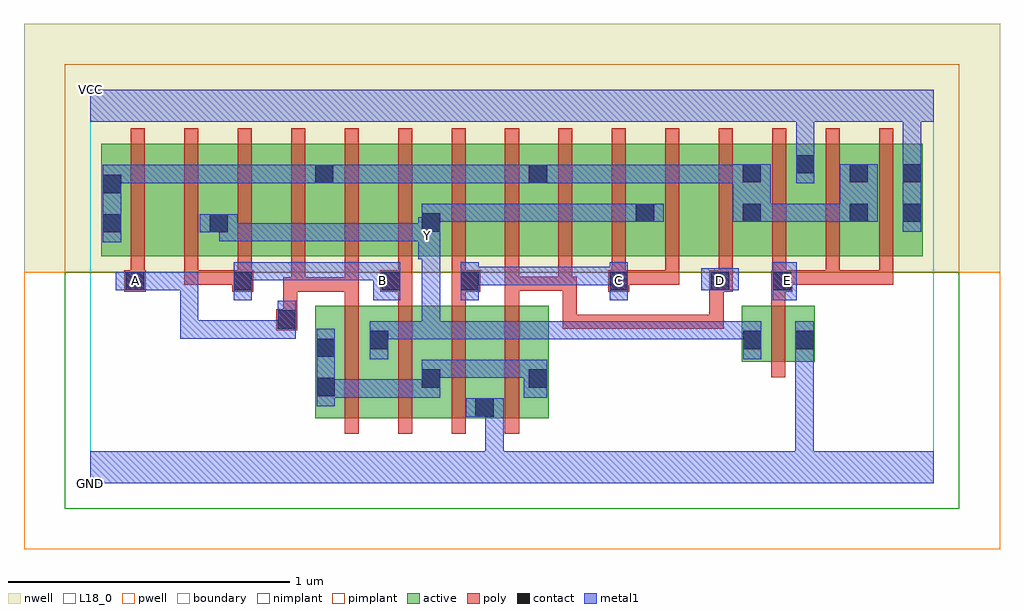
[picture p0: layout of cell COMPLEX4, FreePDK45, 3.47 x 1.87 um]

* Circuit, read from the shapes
.subckt COMPLEX4 A B C D E GND VCC Y
M1 Y A n1 VSUBS nfet w=0.4u l=0.05u
M2 n1 B Y VSUBS nfet w=0.4u l=0.05u
M3 GND C n1 VSUBS nfet w=0.4u l=0.05u
M4 n1 D GND VSUBS nfet w=0.4u l=0.05u
M5 GND E Y VSUBS nfet w=0.2u l=0.05u
M6 n2 A n3 n4 pfet w=0.4u l=0.05u
M7 Y B n2 n4 pfet w=0.4u l=0.05u
M8 n5 B Y n4 pfet w=0.4u l=0.05u
M9 n3 A n5 n4 pfet w=0.4u l=0.05u
M10 n6 A n3 n4 pfet w=0.4u l=0.05u
M11 Y B n6 n4 pfet w=0.4u l=0.05u
M12 n7 C Y n4 pfet w=0.4u l=0.05u
M13 n3 D n7 n4 pfet w=0.4u l=0.05u
M14 n8 D n3 n4 pfet w=0.4u l=0.05u
M15 Y C n8 n4 pfet w=0.4u l=0.05u
M16 n9 C Y n4 pfet w=0.4u l=0.05u
M17 n3 D n9 n4 pfet w=0.4u l=0.05u
M18 VCC E n3 n4 pfet w=0.4u l=0.05u m=3
.ends

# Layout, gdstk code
import gdstk
lib = gdstk.Library(unit=1e-6, precision=1e-09)
def R(c, l, rs):  # rectangles x0, y0, x1, y1
    for r in rs: c.add(gdstk.rectangle(r[:2], r[2:], *l))
def A(c, l, x, y, w, h, nx, ny, dx, dy):  # array of equal rectangles
    R(c, l, [(x+i*dx, y+j*dy, x+i*dx+w, y+j*dy+h) for i in range(nx) for j in range(ny)])
active = (1, 0)
pwell = (2, 0)
nwell = (3, 0)
nimplant = (4, 0)
pimplant = (5, 0)
poly = (9, 0)
contact = (10, 0)
metal1 = (11, 0)
L18_0 = (18, 0)
boundary = (235, 0)

complex4 = lib.new_cell('COMPLEX4')
A(complex4, active, 1.175, 0.232, 0.075, 0.26, 3, 1, 0.19, 0)
A(complex4, active, 0.645, 0.807, 0.225, 0.4, 5, 1, 0.38, 0)
A(complex4, active, 0.795, 0.807, 0.075, 0.393, 3, 1, 0.76, 0)
A(complex4, active, 0.795, 0.807, 0.23, 0.4, 4, 1, 0.38, 0)
A(complex4, active, 2.315, 0.807, 0.265, 0.4, 3, 1, 0.19, 0)
R(complex4, active, [(0.8,0.232,1.065,0.632), (0.8,0.232,0.875,0.632), (0.99,0.232,1.25,0.632), (1.175,0.232,1.44,0.632), (1.365,0.232,1.63,0.632), (0.99,0.295,1.065,0.632), (2.317,0.432,2.392,0.632), (2.317,0.432,2.577,0.632), (2.502,0.432,2.577,0.632), (0.04,0.807,0.265,1.207), (0.04,0.807,0.145,1.2), (0.265,0.807,0.495,1.207), (0.42,0.807,0.645,1.207), (0.42,0.807,0.495,1.07), (1.175,0.807,1.25,1.07), (1.935,0.807,2.01,1.07), (2.505,0.807,2.58,1.207), (2.695,0.807,2.77,1.2), (2.885,0.807,2.96,1.207)])
R(complex4, pwell, [(-0.235,-0.235,3.235,0.75)])
R(complex4, nwell, [(-0.235,0.75,3.235,1.635)])
R(complex4, nimplant, [(-0.09,-0.09,3.09,0.75)])
R(complex4, pimplant, [(-0.09,0.75,3.09,1.49)])
A(complex4, poly, 0.905, 0.177, 0.05, 0.51, 4, 1, 0.19, 0)
A(complex4, poly, 0.905, 0.637, 0.05, 0.095, 3, 1, 0.19, 0)
A(complex4, poly, 0.145, 0.707, 0.05, 0.095, 3, 1, 0.19, 0)
A(complex4, poly, 1.855, 0.707, 0.05, 0.095, 6, 1, 0.19, 0)
A(complex4, poly, 0.145, 0.752, 0.05, 0.51, 15, 1, 0.19, 0)
R(complex4, poly, [(2.422,0.377,2.472,0.687), (0.662,0.545,0.737,0.62), (1.68,0.55,1.73,0.6), (1.68,0.55,1.73,0.6), (1.68,0.55,1.73,0.6), (1.68,0.55,1.862,0.6), (1.68,0.55,1.73,0.735), (1.812,0.55,1.862,0.6), (1.812,0.55,2.05,0.6), (2,0.55,2.05,0.6), (2,0.55,2.05,0.6), (2,0.55,2.05,0.6), (2,0.55,2.252,0.6), (2.202,0.55,2.252,0.6), (2.202,0.55,2.252,0.6), (2.202,0.55,2.252,0.6), (2.202,0.55,2.252,0.6), (2.202,0.55,2.252,0.6), (2.202,0.55,2.252,0.732), (0.687,0.57,0.737,0.732), (1.475,0.637,1.525,0.735), (2.422,0.637,2.472,0.732), (0.122,0.682,0.197,0.757), (0.505,0.682,0.58,0.757), (0.687,0.682,0.75,0.732), (0.7,0.682,0.75,0.732), (0.7,0.682,0.765,0.732), (0.715,0.682,0.765,0.732), (0.715,0.682,0.765,0.732), (0.715,0.682,0.955,0.732), (0.715,0.682,0.765,0.802), (0.905,0.682,0.955,0.732), (0.905,0.682,0.955,0.802), (1.032,0.682,1.145,0.757), (1.285,0.682,1.387,0.757), (1.842,0.682,1.917,0.757), (2.202,0.682,2.285,0.757), (2.422,0.682,2.497,0.757), (1.475,0.685,1.525,0.735), (1.475,0.685,1.525,0.735), (1.475,0.685,1.525,0.735), (1.475,0.685,1.715,0.735), (1.475,0.685,1.525,0.802), (1.665,0.685,1.715,0.735), (1.665,0.685,1.715,0.735), (1.665,0.685,1.715,0.802), (1.665,0.685,1.73,0.735), (0.335,0.707,0.385,0.757), (0.335,0.707,0.385,0.757), (0.335,0.707,0.385,0.757), (0.335,0.707,0.555,0.757), (1.095,0.707,1.145,0.802), (1.285,0.707,1.335,0.802), (1.867,0.707,1.917,0.757), (1.867,0.707,1.917,0.757), (1.867,0.707,2.095,0.757), (2.045,0.707,2.095,0.757), (2.447,0.707,2.497,0.757), (2.447,0.707,2.497,0.757), (2.447,0.707,2.665,0.757), (2.615,0.707,2.665,0.757), (2.615,0.707,2.855,0.757), (2.805,0.707,2.855,0.757), (2.805,0.707,2.855,0.757), (2.805,0.707,2.855,0.757)])
A(complex4, contact, 1.94, 0.93, 0.065, 0.065, 3, 1, 0.38, 0)
R(complex4, contact, [(1.37,0.237,1.435,0.302), (0.805,0.31,0.87,0.375), (1.18,0.34,1.245,0.405), (1.56,0.34,1.625,0.405), (0.805,0.45,0.87,0.515), (0.995,0.477,1.06,0.542), (2.322,0.477,2.387,0.542), (2.507,0.477,2.572,0.542), (0.667,0.55,0.732,0.615), (0.127,0.687,0.192,0.752), (0.51,0.687,0.575,0.752), (1.037,0.687,1.102,0.752), (1.317,0.687,1.382,0.752), (1.847,0.687,1.912,0.752), (2.207,0.687,2.272,0.752), (2.427,0.687,2.492,0.752), (0.045,0.892,0.11,0.957), (0.425,0.892,0.49,0.957), (1.18,0.895,1.245,0.96), (2.89,0.93,2.955,0.995), (0.045,1.032,0.11,1.097), (0.8,1.067,0.865,1.132), (1.56,1.067,1.625,1.132), (2.32,1.07,2.385,1.135), (2.7,1.07,2.765,1.135), (2.89,1.07,2.955,1.135), (2.51,1.102,2.575,1.167)])
R(complex4, metal1, [(0,0,3,0.115), (1.405,0.05,1.47,0.115), (1.405,0.05,1.47,0.115), (1.405,0.05,1.47,0.302), (2.507,0.05,2.572,0.115), (2.507,0.05,2.572,0.115), (2.507,0.05,2.572,0.115), (2.507,0.05,2.572,0.115), (2.507,0.05,2.572,0.507), (1.335,0.237,1.47,0.302), (0.805,0.275,0.87,0.55), (0.805,0.305,0.87,0.37), (0.805,0.305,0.87,0.37), (0.805,0.305,1.06,0.37), (0.995,0.305,1.06,0.37), (0.995,0.305,1.245,0.37), (1.18,0.305,1.245,0.37), (1.18,0.305,1.245,0.37), (1.18,0.305,1.245,0.44), (1.542,0.305,1.625,0.44), (1.18,0.375,1.382,0.44), (1.317,0.375,1.382,0.44), (1.317,0.375,1.382,0.44), (1.317,0.375,1.382,0.44), (1.317,0.375,1.607,0.44), (1.542,0.375,1.607,0.44), (1.542,0.375,1.607,0.44), (0.995,0.442,1.06,0.577), (2.322,0.442,2.387,0.577), (2.507,0.442,2.572,0.507), (2.507,0.442,2.572,0.507), (2.507,0.442,2.572,0.577), (0.995,0.512,1.06,0.577), (0.995,0.512,1.06,0.577), (0.995,0.512,1.245,0.577), (1.18,0.512,1.245,0.577), (1.18,0.512,1.452,0.577), (1.18,0.512,1.245,0.862), (1.387,0.512,1.452,0.577), (1.387,0.512,1.452,0.577), (1.387,0.512,1.452,0.577), (1.387,0.512,1.607,0.577), (1.542,0.512,1.607,0.577), (1.542,0.512,1.607,0.577), (1.542,0.512,1.607,0.577), (1.542,0.512,1.745,0.577), (1.68,0.512,1.745,0.577), (1.68,0.512,1.797,0.577), (1.732,0.512,1.797,0.577), (1.732,0.512,1.882,0.577), (1.817,0.512,1.882,0.577), (1.817,0.512,1.97,0.577), (1.905,0.512,1.97,0.577), (1.905,0.512,2.1,0.577), (2.035,0.512,2.1,0.577), (2.035,0.512,2.157,0.577), (2.092,0.512,2.157,0.577), (2.092,0.512,2.237,0.577), (2.172,0.512,2.237,0.577), (2.172,0.512,2.387,0.577), (0.32,0.515,0.385,0.58), (0.32,0.515,0.575,0.58), (0.32,0.515,0.385,0.752), (0.51,0.515,0.575,0.58), (0.51,0.515,0.675,0.58), (0.61,0.515,0.675,0.58), (0.61,0.515,0.675,0.58), (0.61,0.515,0.675,0.58), (0.61,0.515,0.732,0.58), (0.667,0.515,0.732,0.65), (0.51,0.652,0.575,0.787), (1.007,0.652,1.102,0.787), (1.317,0.652,1.382,0.787), (1.847,0.652,1.912,0.787), (2.427,0.652,2.512,0.787), (0.092,0.687,0.227,0.752), (0.162,0.687,0.247,0.752), (0.182,0.687,0.247,0.752), (0.182,0.687,0.385,0.752), (0.32,0.687,0.385,0.752), (0.32,0.687,0.385,0.752), (0.32,0.687,0.385,0.752), (2.172,0.687,2.307,0.765), (1.317,0.705,1.382,0.77), (1.317,0.705,1.382,0.77), (1.317,0.705,1.59,0.77), (1.525,0.705,1.59,0.77), (1.525,0.705,1.59,0.77), (1.525,0.705,1.59,0.77), (1.525,0.705,1.745,0.77), (1.68,0.705,1.745,0.77), (1.68,0.705,1.797,0.77), (1.732,0.705,1.797,0.77), (1.732,0.705,1.912,0.77), (0.51,0.722,0.692,0.787), (0.627,0.722,0.692,0.787), (0.627,0.722,0.732,0.787), (0.667,0.722,0.732,0.787), (0.667,0.722,0.87,0.787), (0.805,0.722,0.87,0.787), (0.805,0.722,0.87,0.787), (0.805,0.722,0.87,0.787), (0.805,0.722,1.072,0.787), (1.007,0.722,1.072,0.787), (1.007,0.722,1.072,0.787), (1.167,0.797,1.245,0.947), (0.045,0.857,0.11,1.132), (0.46,0.86,0.692,0.925), (0.46,0.86,0.525,0.957), (0.627,0.86,0.692,0.925), (0.627,0.86,0.732,0.925), (0.667,0.86,0.732,0.925), (0.667,0.86,0.922,0.925), (0.857,0.86,0.922,0.925), (0.857,0.86,0.922,0.925), (0.857,0.86,0.922,0.925), (0.857,0.86,1.06,0.925), (0.995,0.86,1.06,0.925), (0.995,0.86,1.245,0.925), (1.18,0.86,1.245,0.925), (1.18,0.86,1.245,0.925), (1.18,0.86,1.245,0.925), (1.18,0.86,1.245,0.995), (0.39,0.892,0.525,0.957), (0.46,0.892,0.525,0.957), (2.89,0.895,2.955,1.17), (1.18,0.93,1.452,0.995), (1.387,0.93,1.452,0.995), (1.387,0.93,1.452,0.995), (1.387,0.93,1.452,0.995), (1.387,0.93,1.59,0.995), (1.525,0.93,1.59,0.995), (1.525,0.93,1.59,0.995), (1.525,0.93,1.59,0.995), (1.525,0.93,1.745,0.995), (1.68,0.93,1.745,0.995), (1.68,0.93,1.797,0.995), (1.732,0.93,1.797,0.995), (1.732,0.93,1.882,0.995), (1.817,0.93,1.882,0.995), (1.817,0.93,1.97,0.995), (1.905,0.93,2.04,0.995), (2.285,0.93,2.42,1.135), (2.355,0.93,2.557,0.995), (2.492,0.93,2.557,0.995), (2.492,0.93,2.557,0.995), (2.492,0.93,2.557,0.995), (2.492,0.93,2.73,0.995), (2.665,0.93,2.73,0.995), (2.665,0.93,2.73,0.995), (2.665,0.93,2.8,1.135), (0.045,1.067,0.11,1.132), (0.045,1.067,0.11,1.132), (0.045,1.067,0.247,1.132), (0.182,1.067,0.247,1.132), (0.182,1.067,0.247,1.132), (0.182,1.067,0.247,1.132), (0.182,1.067,0.365,1.132), (0.3,1.067,0.365,1.132), (0.3,1.067,0.522,1.132), (0.457,1.067,0.522,1.132), (0.457,1.067,0.522,1.132), (0.457,1.067,0.522,1.132), (0.457,1.067,0.692,1.132), (0.627,1.067,0.692,1.132), (0.627,1.067,0.712,1.132), (0.647,1.067,0.712,1.132), (0.647,1.067,0.83,1.132), (0.765,1.067,0.9,1.132), (0.835,1.067,0.9,1.132), (0.835,1.067,0.9,1.132), (0.835,1.067,1.095,1.132), (1.03,1.067,1.095,1.132), (1.03,1.067,1.095,1.132), (1.03,1.067,1.095,1.132), (1.03,1.067,1.232,1.132), (1.167,1.067,1.232,1.132), (1.167,1.067,1.452,1.132), (1.387,1.067,1.452,1.132), (1.387,1.067,1.452,1.132), (1.387,1.067,1.452,1.132), (1.387,1.067,1.59,1.132), (1.525,1.067,1.59,1.132), (1.525,1.067,1.59,1.132), (1.525,1.067,1.66,1.132), (1.595,1.067,1.745,1.132), (1.68,1.067,1.745,1.132), (1.68,1.067,1.797,1.132), (1.732,1.067,1.797,1.132), (1.732,1.067,1.882,1.132), (1.817,1.067,1.882,1.132), (1.817,1.067,2.02,1.132), (1.955,1.067,2.02,1.132), (1.955,1.067,2.02,1.132), (1.955,1.067,2.02,1.132), (1.955,1.067,2.177,1.132), (2.112,1.067,2.177,1.132), (2.112,1.067,2.177,1.132), (2.112,1.067,2.177,1.132), (2.112,1.067,2.35,1.132), (2.285,1.067,2.35,1.132), (2.285,1.067,2.35,1.132), (2.51,1.067,2.575,1.202), (2.89,1.105,2.955,1.35), (2.51,1.137,2.575,1.35), (0,1.285,3,1.4)])
R(complex4, L18_0, [(0,0,3,0.115), (1.405,0.05,1.47,0.115), (1.405,0.05,1.47,0.115), (1.405,0.05,1.47,0.302), (2.507,0.05,2.572,0.115), (2.507,0.05,2.572,0.115), (2.507,0.05,2.572,0.115), (2.507,0.05,2.572,0.115), (2.507,0.05,2.572,0.507), (1.335,0.237,1.47,0.302), (0.995,0.442,1.06,0.577), (2.322,0.442,2.387,0.577), (2.507,0.442,2.572,0.507), (2.507,0.442,2.572,0.507), (2.507,0.442,2.572,0.577), (0.995,0.512,1.06,0.577), (0.995,0.512,1.06,0.577), (0.995,0.512,1.245,0.577), (1.18,0.512,1.245,0.577), (1.18,0.512,1.245,0.862), (1.18,0.512,1.452,0.577), (1.387,0.512,1.452,0.577), (1.387,0.512,1.452,0.577), (1.387,0.512,1.452,0.577), (1.387,0.512,1.607,0.577), (1.542,0.512,1.607,0.577), (1.542,0.512,1.607,0.577), (1.542,0.512,1.607,0.577), (1.542,0.512,1.745,0.577), (1.68,0.512,1.745,0.577), (1.68,0.512,1.797,0.577), (1.732,0.512,1.797,0.577), (1.732,0.512,1.882,0.577), (1.817,0.512,1.882,0.577), (1.817,0.512,1.97,0.577), (1.905,0.512,1.97,0.577), (1.905,0.512,2.1,0.577), (2.035,0.512,2.1,0.577), (2.035,0.512,2.157,0.577), (2.092,0.512,2.157,0.577), (2.092,0.512,2.237,0.577), (2.172,0.512,2.237,0.577), (2.172,0.512,2.387,0.577), (0.32,0.515,0.385,0.58), (0.32,0.515,0.385,0.752), (0.32,0.515,0.575,0.58), (0.51,0.515,0.575,0.58), (0.51,0.515,0.675,0.58), (0.61,0.515,0.675,0.58), (0.61,0.515,0.675,0.58), (0.61,0.515,0.675,0.58), (0.61,0.515,0.732,0.58), (0.667,0.515,0.732,0.65), (0.51,0.652,0.575,0.787), (1.007,0.652,1.102,0.787), (1.317,0.652,1.382,0.787), (1.847,0.652,1.912,0.787), (2.427,0.652,2.512,0.787), (0.092,0.687,0.227,0.752), (0.127,0.687,0.192,0.752), (0.162,0.687,0.247,0.752), (0.182,0.687,0.247,0.752), (0.182,0.687,0.385,0.752), (0.32,0.687,0.385,0.752), (0.32,0.687,0.385,0.752), (0.32,0.687,0.385,0.752), (1.007,0.687,1.072,0.752), (1.847,0.687,1.912,0.752), (2.172,0.687,2.307,0.765), (2.207,0.687,2.272,0.752), (2.447,0.687,2.512,0.752), (1.317,0.705,1.382,0.77), (1.317,0.705,1.382,0.77), (1.317,0.705,1.59,0.77), (1.525,0.705,1.59,0.77), (1.525,0.705,1.59,0.77), (1.525,0.705,1.59,0.77), (1.525,0.705,1.745,0.77), (1.68,0.705,1.745,0.77), (1.68,0.705,1.797,0.77), (1.732,0.705,1.797,0.77), (1.732,0.705,1.912,0.77), (0.51,0.722,0.692,0.787), (0.627,0.722,0.692,0.787), (0.627,0.722,0.732,0.787), (0.667,0.722,0.732,0.787), (0.667,0.722,0.87,0.787), (0.805,0.722,0.87,0.787), (0.805,0.722,0.87,0.787), (0.805,0.722,0.87,0.787), (0.805,0.722,1.072,0.787), (1.007,0.722,1.072,0.787), (1.007,0.722,1.072,0.787), (1.167,0.797,1.245,0.947), (1.167,0.847,1.232,0.912), (0.46,0.86,0.525,0.957), (0.46,0.86,0.692,0.925), (0.627,0.86,0.692,0.925), (0.627,0.86,0.732,0.925), (0.667,0.86,0.732,0.925), (0.667,0.86,0.922,0.925), (0.857,0.86,0.922,0.925), (0.857,0.86,0.922,0.925), (0.857,0.86,0.922,0.925), (0.857,0.86,1.06,0.925), (0.995,0.86,1.06,0.925), (0.995,0.86,1.245,0.925), (1.18,0.86,1.245,0.925), (1.18,0.86,1.245,0.925), (1.18,0.86,1.245,0.925), (1.18,0.86,1.245,0.995), (0.39,0.892,0.525,0.957), (0.46,0.892,0.525,0.957), (2.89,0.895,2.955,1.17), (1.18,0.93,1.452,0.995), (1.387,0.93,1.452,0.995), (1.387,0.93,1.452,0.995), (1.387,0.93,1.452,0.995), (1.387,0.93,1.59,0.995), (1.525,0.93,1.59,0.995), (1.525,0.93,1.59,0.995), (1.525,0.93,1.59,0.995), (1.525,0.93,1.745,0.995), (1.68,0.93,1.745,0.995), (1.68,0.93,1.797,0.995), (1.732,0.93,1.797,0.995), (1.732,0.93,1.882,0.995), (1.817,0.93,1.882,0.995), (1.817,0.93,1.97,0.995), (1.905,0.93,2.04,0.995), (2.51,1.067,2.575,1.202), (2.89,1.105,2.955,1.35), (2.51,1.137,2.575,1.35), (0,1.285,3,1.4)])
R(complex4, boundary, [(0,0,3,1.4)])
complex4.add(gdstk.Label('A', (0.16,0.72), layer=11, texttype=0))
complex4.add(gdstk.Label('B', (1.04,0.72), layer=11, texttype=0))
complex4.add(gdstk.Label('C', (1.88,0.72), layer=11, texttype=0))
complex4.add(gdstk.Label('D', (2.24,0.72), layer=11, texttype=0))
complex4.add(gdstk.Label('E', (2.48,0.72), layer=11, texttype=0))
complex4.add(gdstk.Label('Y', (1.2,0.88), layer=11, texttype=0))
complex4.add(gdstk.Label('VCC', (0,1.4), layer=11, texttype=0))
complex4.add(gdstk.Label('GND', (0,0), layer=11, texttype=0))

lib.write_gds('COMPLEX4.gds')
